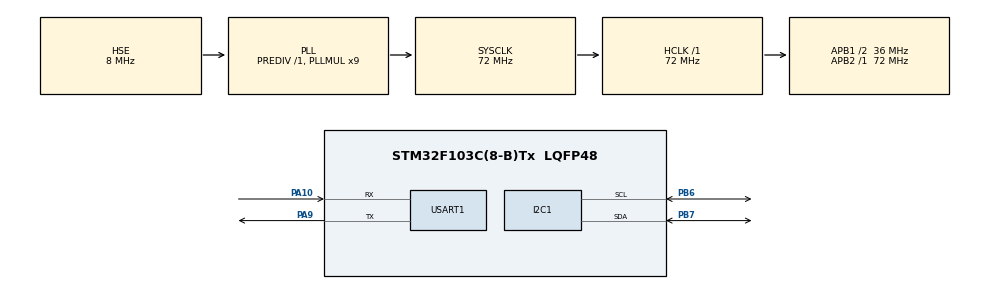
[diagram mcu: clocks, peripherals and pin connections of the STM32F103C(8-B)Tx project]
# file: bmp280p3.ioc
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Mcu.Family=STM32F1
Mcu.Name=STM32F103C(8-B)Tx
Mcu.Package=LQFP48
NVIC.PriorityGroup=NVIC_PRIORITYGROUP_4
PA10.Mode=Asynchronous
PA10.Signal=USART1_RX
PA13.Mode=Serial_Wire
PA13.Signal=SYS_JTMS-SWDIO
PA14.Mode=Serial_Wire
PA14.Signal=SYS_JTCK-SWCLK
PA9.Mode=Asynchronous
PA9.Signal=USART1_TX
PB6.Mode=I2C
PB6.Signal=I2C1_SCL
PB7.Mode=I2C
PB7.Signal=I2C1_SDA
PD0-OSC_IN.Mode=HSE-External-Oscillator
PD0-OSC_IN.Signal=RCC_OSC_IN
PD1-OSC_OUT.Mode=HSE-External-Oscillator
PD1-OSC_OUT.Signal=RCC_OSC_OUT
ProjectManager.HeapSize=0x200
ProjectManager.StackSize=0x400
ProjectManager.TargetToolchain=MDK-ARM V5.32
RCC.AHBFreq_Value=72000000
RCC.APB1CLKDivider=RCC_HCLK_DIV2
RCC.APB1Freq_Value=36000000
RCC.APB1TimFreq_Value=72000000
RCC.APB2Freq_Value=72000000
RCC.APB2TimFreq_Value=72000000
RCC.HCLKFreq_Value=72000000
RCC.PLLMUL=RCC_PLL_MUL9
RCC.PLLSourceVirtual=RCC_PLLSOURCE_HSE
RCC.SYSCLKFreq_VALUE=72000000
RCC.SYSCLKSource=RCC_SYSCLKSOURCE_PLLCLK
RCC.USBFreq_Value=72000000
USART1.VirtualMode=VM_ASYNC
board=custom

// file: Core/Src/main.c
/* USER CODE BEGIN Header */
/**
  ******************************************************************************
  * @file           : main.c
  * @brief          : Main program body
	* Author          : Ashish kumar Verma
	* Date            : 22-01-2020
  ******************************************************************************
	*		UART      STM32F103
	*    RX           A9
	*		 TX           A10
	*
	*  BMP280      STM32F103
	*   VCC          3.3vlt
	*   Gnd          Gnd
	*   SCL          B6
	*   SDA          B7
  ** This notice applies to any and all portions of this file
  * that are not between comment pairs USER CODE BEGIN and
  * USER CODE END. Other portions of this file, whether
  * inserted by the user or by software development tools
  * are owned by their respective copyright owners.
  *
  * COPYRIGHT(c) 2020 STMicroelectronics
  *
  * Redistribution and use in source and binary forms, with or without modification,
  * are permitted provided that the following conditions are met:
  *   1. Redistributions of source code must retain the above copyright notice,
  *      this list of conditions and the following disclaimer.
  *   2. Redistributions in binary form must reproduce the above copyright notice,
  *      this list of conditions and the following disclaimer in the documentation
  *      and/or other materials provided with the distribution.
  *   3. Neither the name of STMicroelectronics nor the names of its contributors
  *      may be used to endorse or promote products derived from this software
  *      without specific prior written permission.
  *
  * THIS SOFTWARE IS PROVIDED BY THE COPYRIGHT HOLDERS AND CONTRIBUTORS "AS IS"
  * AND ANY EXPRESS OR IMPLIED WARRANTIES, INCLUDING, BUT NOT LIMITED TO, THE
  * IMPLIED WARRANTIES OF MERCHANTABILITY AND FITNESS FOR A PARTICULAR PURPOSE ARE
  * DISCLAIMED. IN NO EVENT SHALL THE COPYRIGHT HOLDER OR CONTRIBUTORS BE LIABLE
  * FOR ANY DIRECT, INDIRECT, INCIDENTAL, SPECIAL, EXEMPLARY, OR CONSEQUENTIAL
  * DAMAGES (INCLUDING, BUT NOT LIMITED TO, PROCUREMENT OF SUBSTITUTE GOODS OR
  * SERVICES; LOSS OF USE, DATA, OR PROFITS; OR BUSINESS INTERRUPTION) HOWEVER
  * CAUSED AND ON ANY THEORY OF LIABILITY, WHETHER IN CONTRACT, STRICT LIABILITY,
  * OR TORT (INCLUDING NEGLIGENCE OR OTHERWISE) ARISING IN ANY WAY OUT OF THE USE
  * OF THIS SOFTWARE, EVEN IF ADVISED OF THE POSSIBILITY OF SUCH DAMAGE.
  *
  ******************************************************************************
  */
/* USER CODE END Header */
#include "main.h"

/* USER CODE BEGIN Includes */
#include "stdio.h"
#include "stdlib.h"
#include "bmp280.h"
#include "math.h"
/* USER CODE END Includes */

/* USER CODE BEGIN PTD */

float altitude ,pressure, p, temperature, humidity;

uint16_t size;
uint8_t Data[256];
/* USER CODE END PTD */

I2C_HandleTypeDef hi2c1;

UART_HandleTypeDef huart1;

/* USER CODE BEGIN PV */
BMP280_HandleTypedef bmp280;
/* Private variables ---------------------------------------------------------*/

/* USER CODE END PV */

void SystemClock_Config(void);
static void MX_GPIO_Init(void);
static void MX_I2C1_Init(void);
static void MX_USART1_UART_Init(void);
/* USER CODE BEGIN PFP */
/* Private function prototypes -----------------------------------------------*/

/* USER CODE END PFP */

int main(void)
{

  /* MCU Configuration--------------------------------------------------------*/

  /* Reset of all peripherals, Initializes the Flash interface and the Systick. */
  HAL_Init();

  /* Configure the system clock */
  SystemClock_Config();

  /* Initialize all configured peripherals */
  MX_GPIO_Init();
  MX_I2C1_Init();
  MX_USART1_UART_Init();
  /* USER CODE BEGIN 2 */
	bmp280_init_default_params(&bmp280.params);
	bmp280.addr = BMP280_I2C_ADDRESS_0;
	bmp280.i2c = &hi2c1;

	while (!(bmp280_init(&bmp280, &bmp280.params)))
		{
			size = sprintf((char *)Data, "BMP280 initialization failed\n");
			HAL_UART_Transmit(&huart1, Data, size, 1000);
			HAL_Delay(2000);
		}
	bool bme280p = bmp280.id == BMP280_CHIP_ID;
	size = sprintf((char *)Data, "BMP280: found %s\n", bme280p ? "BME280" : "BMP280");
	HAL_UART_Transmit(&huart1, Data, size, 1000);
  /* USER CODE END 2 */

  /* Infinite loop */
  while (1)
  {

    /* USER CODE BEGIN 3 */
HAL_Delay(100);
		while (!bmp280_read_float(&bmp280, &temperature, &pressure, &humidity)) {
			size = sprintf((char *)Data,
					"Temperature/pressure reading failed\n");
			HAL_UART_Transmit(&huart1, Data, size, 1000);
			HAL_Delay(2000);
		}
			p = pressure/100;
		 altitude = 44330.0*(1-pow(p/1013.25, 1/5.255));

		  size = sprintf((char *)Data,"\nPressure: %.2f Pa, Temperature: %.2f C , Altitude: %.2f m\r\n",
				pressure, temperature , altitude);
		//size = sprintf((char *)Data,"\nPressure: %.2f Pa, Temperature: %.2f C \r\n",
		//		pressure, temperature);
		HAL_UART_Transmit(&huart1, Data, size, 1000);
		if (bme280p) {
			//size = sprintf((char *)Data,", Humidity: %.2f\n", humidity);
			//HAL_UART_Transmit(&huart1, Data, size, 1000);
		}

		else {
			size = sprintf((char *)Data, "\n");
			HAL_UART_Transmit(&huart1, Data, size, 1000);
		}
		HAL_Delay(500);
  }
  /* USER CODE END 3 */
}

void SystemClock_Config(void)
{
  RCC_OscInitTypeDef RCC_OscInitStruct = {0};
  RCC_ClkInitTypeDef RCC_ClkInitStruct = {0};

  /** Initializes the RCC Oscillators according to the specified parameters
  * in the RCC_OscInitTypeDef structure.
  */
  RCC_OscInitStruct.OscillatorType = RCC_OSCILLATORTYPE_HSE;
  RCC_OscInitStruct.HSEState = RCC_HSE_ON;
  RCC_OscInitStruct.HSEPredivValue = RCC_HSE_PREDIV_DIV1;
  RCC_OscInitStruct.HSIState = RCC_HSI_ON;
  RCC_OscInitStruct.PLL.PLLState = RCC_PLL_ON;
  RCC_OscInitStruct.PLL.PLLSource = RCC_PLLSOURCE_HSE;
  RCC_OscInitStruct.PLL.PLLMUL = RCC_PLL_MUL9;
  if (HAL_RCC_OscConfig(&RCC_OscInitStruct) != HAL_OK)
  {
    Error_Handler();
  }

  /** Initializes the CPU, AHB and APB buses clocks
  */
  RCC_ClkInitStruct.ClockType = RCC_CLOCKTYPE_HCLK|RCC_CLOCKTYPE_SYSCLK
                              |RCC_CLOCKTYPE_PCLK1|RCC_CLOCKTYPE_PCLK2;
  RCC_ClkInitStruct.SYSCLKSource = RCC_SYSCLKSOURCE_PLLCLK;
  RCC_ClkInitStruct.AHBCLKDivider = RCC_SYSCLK_DIV1;
  RCC_ClkInitStruct.APB1CLKDivider = RCC_HCLK_DIV2;
  RCC_ClkInitStruct.APB2CLKDivider = RCC_HCLK_DIV1;

  if (HAL_RCC_ClockConfig(&RCC_ClkInitStruct, FLASH_LATENCY_2) != HAL_OK)
  {
    Error_Handler();
  }
}

static void MX_I2C1_Init(void)
{

  hi2c1.Instance = I2C1;
  hi2c1.Init.ClockSpeed = 100000;
  hi2c1.Init.DutyCycle = I2C_DUTYCYCLE_2;
  hi2c1.Init.OwnAddress1 = 0;
  hi2c1.Init.AddressingMode = I2C_ADDRESSINGMODE_7BIT;
  hi2c1.Init.DualAddressMode = I2C_DUALADDRESS_DISABLE;
  hi2c1.Init.OwnAddress2 = 0;
  hi2c1.Init.GeneralCallMode = I2C_GENERALCALL_DISABLE;
  hi2c1.Init.NoStretchMode = I2C_NOSTRETCH_DISABLE;
  if (HAL_I2C_Init(&hi2c1) != HAL_OK)
  {
    Error_Handler();
  }

}

static void MX_USART1_UART_Init(void)
{

  huart1.Instance = USART1;
  huart1.Init.BaudRate = 115200;
  huart1.Init.WordLength = UART_WORDLENGTH_8B;
  huart1.Init.StopBits = UART_STOPBITS_1;
  huart1.Init.Parity = UART_PARITY_NONE;
  huart1.Init.Mode = UART_MODE_TX_RX;
  huart1.Init.HwFlowCtl = UART_HWCONTROL_NONE;
  huart1.Init.OverSampling = UART_OVERSAMPLING_16;
  if (HAL_UART_Init(&huart1) != HAL_OK)
  {
    Error_Handler();
  }

}

static void MX_GPIO_Init(void)
{

  /* GPIO Ports Clock Enable */
  __HAL_RCC_GPIOD_CLK_ENABLE();
  __HAL_RCC_GPIOA_CLK_ENABLE();
  __HAL_RCC_GPIOB_CLK_ENABLE();

}

void Error_Handler(void)
{
  while(1)
  {
  }
}
